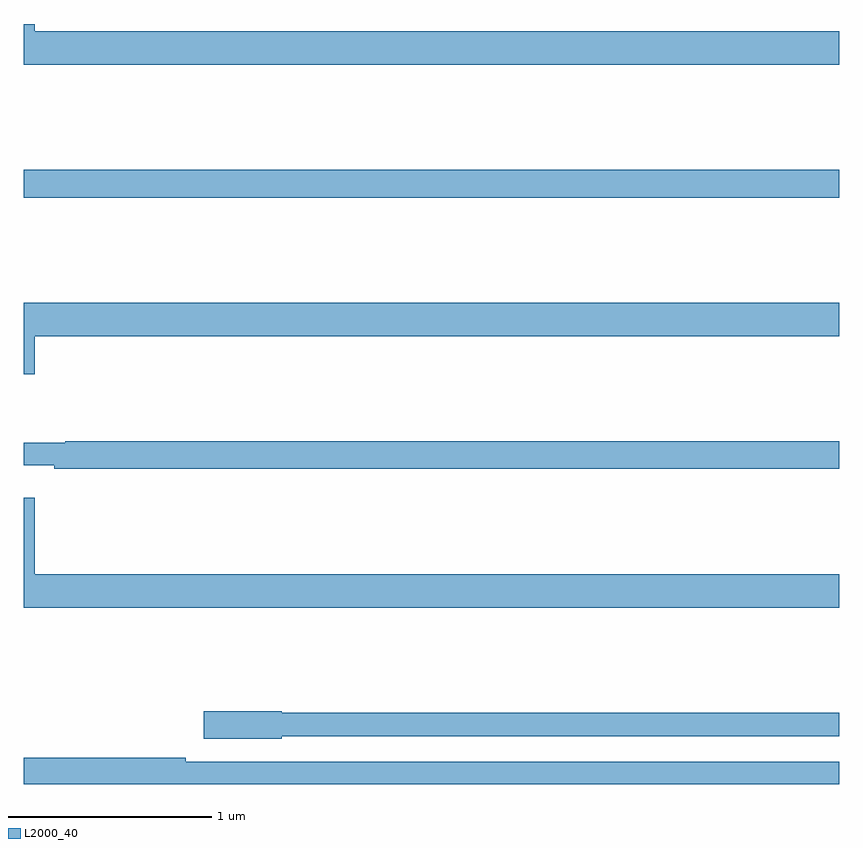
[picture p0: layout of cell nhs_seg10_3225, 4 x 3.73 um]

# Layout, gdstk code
import gdstk
lib = gdstk.Library(unit=1e-6, precision=1e-09)
def R(c, l, rs):  # rectangles x0, y0, x1, y1
    for r in rs: c.add(gdstk.rectangle(r[:2], r[2:], *l))
def P(c, l, *ps):  # polygons
    for p in ps: c.add(gdstk.Polygon(p, *l))
L2000_40 = (2000, 40)

nhs_seg10_3225 = lib.new_cell('nhs_seg10_3225')
R(nhs_seg10_3225, L2000_40, [(285,1315.648,289,1315.784)])
P(nhs_seg10_3225, L2000_40, [(289,1316.464),(285.052,1316.464),(285.052,1316.5),(285,1316.5),(285,1316.3),(289,1316.3)],
  [(285.052,1314.968),(289,1314.968),(289,1315.132),(285,1315.132),(285,1314.78),(285.052,1314.78)],
  [(289,1314.452),(285.203,1314.452),(285.203,1314.445),(285,1314.445),(285,1314.335),(285.148,1314.335),(285.148,1314.316),(289,1314.316)],
  [(289,1313.8),(285.052,1313.8),(285.052,1314.175),(285,1314.175),(285,1313.636),(289,1313.636)],
  [(286.266,1313.004),(289,1313.004),(289,1313.12),(286.266,1313.12),(286.266,1313.126),(285.882,1313.126),(285.882,1312.991),(286.266,1312.991)],
  [(289,1312.878),(285.794,1312.878),(285.794,1312.898),(285,1312.898),(285,1312.77),(289,1312.77)])

lib.write_gds('nhs_seg10_3225.gds')
